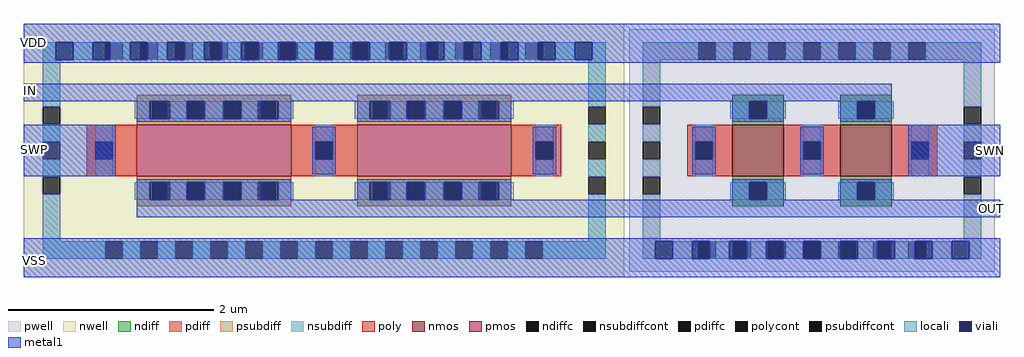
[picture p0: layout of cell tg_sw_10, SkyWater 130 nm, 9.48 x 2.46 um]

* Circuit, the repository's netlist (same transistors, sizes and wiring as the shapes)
** sch_path: /home/mthudaa/vlsi/8bit_SAR-ADC_ITS/xschem/tg_sw_10.sch
.subckt tg_sw_10 vdd swp swn vss in out
*.PININFO vdd:I swp:I swn:I vss:I in:B out:B
XM1 in swp out vdd sky130_fd_pr__pfet_01v8 L=0.5 W=1.5 nf=1 m=2
XM2 in swn out vss sky130_fd_pr__nfet_01v8 L=0.5 W=0.5 nf=1 m=2
.ends
.end

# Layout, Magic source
magic
tech sky130A
magscale 1 2
<< locali >>
rect -17 369 9 403
rect 43 369 81 403
rect 115 369 153 403
rect 187 369 225 403
rect 259 369 297 403
rect 331 369 369 403
rect 403 369 441 403
rect 475 369 513 403
rect 547 369 585 403
rect 619 369 657 403
rect 691 369 729 403
rect 763 369 801 403
rect 835 369 873 403
rect 907 369 945 403
rect 979 369 1017 403
rect 1051 369 1077 403
rect 1149 -17 1173 17
rect 1207 -17 1245 17
rect 1279 -17 1317 17
rect 1351 -17 1389 17
rect 1423 -17 1461 17
rect 1495 -17 1533 17
rect 1567 -17 1605 17
rect 1639 -17 1677 17
rect 1711 -17 1749 17
rect 1783 -17 1807 17
<< viali >>
rect 9 369 43 403
rect 81 369 115 403
rect 153 369 187 403
rect 225 369 259 403
rect 297 369 331 403
rect 369 369 403 403
rect 441 369 475 403
rect 513 369 547 403
rect 585 369 619 403
rect 657 369 691 403
rect 729 369 763 403
rect 801 369 835 403
rect 873 369 907 403
rect 945 369 979 403
rect 1017 369 1051 403
rect 1173 -17 1207 17
rect 1245 -17 1279 17
rect 1317 -17 1351 17
rect 1389 -17 1423 17
rect 1461 -17 1495 17
rect 1533 -17 1567 17
rect 1605 -17 1639 17
rect 1677 -17 1711 17
rect 1749 -17 1783 17
<< metal1 >>
rect -53 403 1843 439
rect -53 369 9 403
rect 43 369 81 403
rect 115 369 153 403
rect 187 369 225 403
rect 259 369 297 403
rect 331 369 369 403
rect 403 369 441 403
rect 475 369 513 403
rect 547 369 585 403
rect 619 369 657 403
rect 691 369 729 403
rect 763 369 801 403
rect 835 369 873 403
rect 907 369 945 403
rect 979 369 1017 403
rect 1051 369 1843 403
rect -53 363 1843 369
rect -53 289 1633 323
rect -53 143 125 243
rect 1665 143 1843 243
rect 166 63 1843 97
rect -53 17 1843 23
rect -53 -17 1173 17
rect 1207 -17 1245 17
rect 1279 -17 1317 17
rect 1351 -17 1389 17
rect 1423 -17 1461 17
rect 1495 -17 1533 17
rect 1567 -17 1605 17
rect 1639 -17 1677 17
rect 1711 -17 1749 17
rect 1783 -17 1843 17
rect -53 -53 1843 -17
use sky130_fd_pr__pfet_01v8_SEQPU3  XM1
transform 0 1 530 -1 0 193
box -246 -583 246 583
use sky130_fd_pr__nfet_01v8_6AUVNX  XM2
transform 0 1 1478 -1 0 193
box -236 -355 236 355
<< labels >>
flabel metal1 s -41 397 -30 409 0 FreeSans 500 0 0 0 VDD
port 1 nsew
flabel metal1 s -38 -26 -27 -14 0 FreeSans 500 0 0 0 VSS
port 2 nsew
flabel metal1 s -46 303 -35 315 0 FreeSans 500 0 0 0 IN
port 3 nsew
flabel metal1 s -38 188 -27 200 0 FreeSans 500 0 0 0 SWP
port 4 nsew
flabel metal1 s 1819 187 1830 199 0 FreeSans 500 0 0 0 SWN
port 5 nsew
flabel metal1 s 1821 74 1832 86 0 FreeSans 500 0 0 0 OUT
port 6 nsew
<< end >>

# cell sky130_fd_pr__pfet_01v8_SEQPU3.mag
magic
tech sky130A
magscale 1 2
<< nwell >>
rect -246 -583 246 583
<< pmos >>
rect -50 64 50 364
rect -50 -364 50 -64
<< pdiff >>
rect -108 333 -50 364
rect -108 299 -96 333
rect -62 299 -50 333
rect -108 265 -50 299
rect -108 231 -96 265
rect -62 231 -50 265
rect -108 197 -50 231
rect -108 163 -96 197
rect -62 163 -50 197
rect -108 129 -50 163
rect -108 95 -96 129
rect -62 95 -50 129
rect -108 64 -50 95
rect 50 333 108 364
rect 50 299 62 333
rect 96 299 108 333
rect 50 265 108 299
rect 50 231 62 265
rect 96 231 108 265
rect 50 197 108 231
rect 50 163 62 197
rect 96 163 108 197
rect 50 129 108 163
rect 50 95 62 129
rect 96 95 108 129
rect 50 64 108 95
rect -108 -95 -50 -64
rect -108 -129 -96 -95
rect -62 -129 -50 -95
rect -108 -163 -50 -129
rect -108 -197 -96 -163
rect -62 -197 -50 -163
rect -108 -231 -50 -197
rect -108 -265 -96 -231
rect -62 -265 -50 -231
rect -108 -299 -50 -265
rect -108 -333 -96 -299
rect -62 -333 -50 -299
rect -108 -364 -50 -333
rect 50 -95 108 -64
rect 50 -129 62 -95
rect 96 -129 108 -95
rect 50 -163 108 -129
rect 50 -197 62 -163
rect 96 -197 108 -163
rect 50 -231 108 -197
rect 50 -265 62 -231
rect 96 -265 108 -231
rect 50 -299 108 -265
rect 50 -333 62 -299
rect 96 -333 108 -299
rect 50 -364 108 -333
<< pdiffc >>
rect -96 299 -62 333
rect -96 231 -62 265
rect -96 163 -62 197
rect -96 95 -62 129
rect 62 299 96 333
rect 62 231 96 265
rect 62 163 96 197
rect 62 95 96 129
rect -96 -129 -62 -95
rect -96 -197 -62 -163
rect -96 -265 -62 -231
rect -96 -333 -62 -299
rect 62 -129 96 -95
rect 62 -197 96 -163
rect 62 -265 96 -231
rect 62 -333 96 -299
<< nsubdiff >>
rect -210 513 -85 547
rect -51 513 -17 547
rect 17 513 51 547
rect 85 513 210 547
rect -210 425 -176 513
rect -210 357 -176 391
rect 176 425 210 513
rect -210 289 -176 323
rect -210 221 -176 255
rect -210 153 -176 187
rect -210 85 -176 119
rect 176 357 210 391
rect 176 289 210 323
rect 176 221 210 255
rect 176 153 210 187
rect 176 85 210 119
rect -210 17 -176 51
rect -210 -51 -176 -17
rect 176 17 210 51
rect 176 -51 210 -17
rect -210 -119 -176 -85
rect -210 -187 -176 -153
rect -210 -255 -176 -221
rect -210 -323 -176 -289
rect -210 -391 -176 -357
rect 176 -119 210 -85
rect 176 -187 210 -153
rect 176 -255 210 -221
rect 176 -323 210 -289
rect -210 -513 -176 -425
rect 176 -391 210 -357
rect 176 -513 210 -425
rect -210 -547 -85 -513
rect -51 -547 -17 -513
rect 17 -547 51 -513
rect 85 -547 210 -513
<< nsubdiffcont >>
rect -85 513 -51 547
rect -17 513 17 547
rect 51 513 85 547
rect -210 391 -176 425
rect 176 391 210 425
rect -210 323 -176 357
rect -210 255 -176 289
rect -210 187 -176 221
rect -210 119 -176 153
rect -210 51 -176 85
rect 176 323 210 357
rect 176 255 210 289
rect 176 187 210 221
rect 176 119 210 153
rect -210 -17 -176 17
rect -210 -85 -176 -51
rect 176 51 210 85
rect 176 -17 210 17
rect -210 -153 -176 -119
rect -210 -221 -176 -187
rect -210 -289 -176 -255
rect -210 -357 -176 -323
rect 176 -85 210 -51
rect 176 -153 210 -119
rect 176 -221 210 -187
rect 176 -289 210 -255
rect 176 -357 210 -323
rect -210 -425 -176 -391
rect 176 -425 210 -391
rect -85 -547 -51 -513
rect -17 -547 17 -513
rect 51 -547 85 -513
<< poly >>
rect -50 445 50 461
rect -50 411 -17 445
rect 17 411 50 445
rect -50 364 50 411
rect -50 17 50 64
rect -50 -17 -17 17
rect 17 -17 50 17
rect -50 -64 50 -17
rect -50 -411 50 -364
rect -50 -445 -17 -411
rect 17 -445 50 -411
rect -50 -461 50 -445
<< polycont >>
rect -17 411 17 445
rect -17 -17 17 17
rect -17 -445 17 -411
<< locali >>
rect -210 513 -85 547
rect -51 513 -17 547
rect 17 513 51 547
rect 85 513 210 547
rect -210 425 -176 513
rect -50 411 -17 445
rect 17 411 50 445
rect 176 425 210 513
rect -210 357 -176 391
rect -210 289 -176 323
rect -210 221 -176 255
rect -210 153 -176 187
rect -210 85 -176 119
rect -96 339 -62 368
rect -96 267 -62 299
rect -96 197 -62 231
rect -96 129 -62 161
rect -96 60 -62 89
rect 62 339 96 368
rect 62 267 96 299
rect 62 197 96 231
rect 62 129 96 161
rect 62 60 96 89
rect 176 357 210 391
rect 176 289 210 323
rect 176 221 210 255
rect 176 153 210 187
rect 176 85 210 119
rect -210 17 -176 51
rect 176 17 210 51
rect -50 -17 -17 17
rect 17 -17 50 17
rect -210 -51 -176 -17
rect 176 -51 210 -17
rect -210 -119 -176 -85
rect -210 -187 -176 -153
rect -210 -255 -176 -221
rect -210 -323 -176 -289
rect -210 -391 -176 -357
rect -96 -89 -62 -60
rect -96 -161 -62 -129
rect -96 -231 -62 -197
rect -96 -299 -62 -267
rect -96 -368 -62 -339
rect 62 -89 96 -60
rect 62 -161 96 -129
rect 62 -231 96 -197
rect 62 -299 96 -267
rect 62 -368 96 -339
rect 176 -119 210 -85
rect 176 -187 210 -153
rect 176 -255 210 -221
rect 176 -323 210 -289
rect 176 -391 210 -357
rect -210 -513 -176 -425
rect -50 -445 -17 -411
rect 17 -445 50 -411
rect 176 -513 210 -425
rect -210 -547 -85 -513
rect -51 -547 -17 -513
rect 17 -547 51 -513
rect 85 -547 210 -513
<< viali >>
rect -17 411 17 445
rect -96 333 -62 339
rect -96 305 -62 333
rect -96 265 -62 267
rect -96 233 -62 265
rect -96 163 -62 195
rect -96 161 -62 163
rect -96 95 -62 123
rect -96 89 -62 95
rect 62 333 96 339
rect 62 305 96 333
rect 62 265 96 267
rect 62 233 96 265
rect 62 163 96 195
rect 62 161 96 163
rect 62 95 96 123
rect 62 89 96 95
rect -17 -17 17 17
rect -96 -95 -62 -89
rect -96 -123 -62 -95
rect -96 -163 -62 -161
rect -96 -195 -62 -163
rect -96 -265 -62 -233
rect -96 -267 -62 -265
rect -96 -333 -62 -305
rect -96 -339 -62 -333
rect 62 -95 96 -89
rect 62 -123 96 -95
rect 62 -163 96 -161
rect 62 -195 96 -163
rect 62 -265 96 -233
rect 62 -267 96 -265
rect 62 -333 96 -305
rect 62 -339 96 -333
rect -17 -445 17 -411
<< metal1 >>
rect -46 445 46 451
rect -46 411 -17 445
rect 17 411 46 445
rect -46 405 46 411
rect -102 339 -56 364
rect -102 305 -96 339
rect -62 305 -56 339
rect -102 267 -56 305
rect -102 233 -96 267
rect -62 233 -56 267
rect -102 195 -56 233
rect -102 161 -96 195
rect -62 161 -56 195
rect -102 123 -56 161
rect -102 89 -96 123
rect -62 89 -56 123
rect -102 64 -56 89
rect 56 339 102 364
rect 56 305 62 339
rect 96 305 102 339
rect 56 267 102 305
rect 56 233 62 267
rect 96 233 102 267
rect 56 195 102 233
rect 56 161 62 195
rect 96 161 102 195
rect 56 123 102 161
rect 56 89 62 123
rect 96 89 102 123
rect 56 64 102 89
rect -46 17 46 23
rect -46 -17 -17 17
rect 17 -17 46 17
rect -46 -23 46 -17
rect -102 -89 -56 -64
rect -102 -123 -96 -89
rect -62 -123 -56 -89
rect -102 -161 -56 -123
rect -102 -195 -96 -161
rect -62 -195 -56 -161
rect -102 -233 -56 -195
rect -102 -267 -96 -233
rect -62 -267 -56 -233
rect -102 -305 -56 -267
rect -102 -339 -96 -305
rect -62 -339 -56 -305
rect -102 -364 -56 -339
rect 56 -89 102 -64
rect 56 -123 62 -89
rect 96 -123 102 -89
rect 56 -161 102 -123
rect 56 -195 62 -161
rect 96 -195 102 -161
rect 56 -233 102 -195
rect 56 -267 62 -233
rect 96 -267 102 -233
rect 56 -305 102 -267
rect 56 -339 62 -305
rect 96 -339 102 -305
rect 56 -364 102 -339
rect -46 -411 46 -405
rect -46 -445 -17 -411
rect 17 -445 46 -411
rect -46 -451 46 -445
<< properties >>
string FIXED_BBOX -193 -530 193 530
<< end >>

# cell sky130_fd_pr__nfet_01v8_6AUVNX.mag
magic
tech sky130A
magscale 1 2
<< pwell >>
rect -236 -355 236 355
<< nmos >>
rect -50 55 50 155
rect -50 -155 50 -55
<< ndiff >>
rect -108 122 -50 155
rect -108 88 -96 122
rect -62 88 -50 122
rect -108 55 -50 88
rect 50 122 108 155
rect 50 88 62 122
rect 96 88 108 122
rect 50 55 108 88
rect -108 -88 -50 -55
rect -108 -122 -96 -88
rect -62 -122 -50 -88
rect -108 -155 -50 -122
rect 50 -88 108 -55
rect 50 -122 62 -88
rect 96 -122 108 -88
rect 50 -155 108 -122
<< ndiffc >>
rect -96 88 -62 122
rect 62 88 96 122
rect -96 -122 -62 -88
rect 62 -122 96 -88
<< psubdiff >>
rect -210 295 -85 329
rect -51 295 -17 329
rect 17 295 51 329
rect 85 295 210 329
rect -210 221 -176 295
rect -210 153 -176 187
rect 176 221 210 295
rect -210 85 -176 119
rect 176 153 210 187
rect 176 85 210 119
rect -210 17 -176 51
rect -210 -51 -176 -17
rect 176 17 210 51
rect 176 -51 210 -17
rect -210 -119 -176 -85
rect -210 -187 -176 -153
rect 176 -119 210 -85
rect -210 -295 -176 -221
rect 176 -187 210 -153
rect 176 -295 210 -221
rect -210 -329 -85 -295
rect -51 -329 -17 -295
rect 17 -329 51 -295
rect 85 -329 210 -295
<< psubdiffcont >>
rect -85 295 -51 329
rect -17 295 17 329
rect 51 295 85 329
rect -210 187 -176 221
rect 176 187 210 221
rect -210 119 -176 153
rect -210 51 -176 85
rect 176 119 210 153
rect -210 -17 -176 17
rect -210 -85 -176 -51
rect 176 51 210 85
rect 176 -17 210 17
rect -210 -153 -176 -119
rect 176 -85 210 -51
rect 176 -153 210 -119
rect -210 -221 -176 -187
rect 176 -221 210 -187
rect -85 -329 -51 -295
rect -17 -329 17 -295
rect 51 -329 85 -295
<< poly >>
rect -50 227 50 243
rect -50 193 -17 227
rect 17 193 50 227
rect -50 155 50 193
rect -50 17 50 55
rect -50 -17 -17 17
rect 17 -17 50 17
rect -50 -55 50 -17
rect -50 -193 50 -155
rect -50 -227 -17 -193
rect 17 -227 50 -193
rect -50 -243 50 -227
<< polycont >>
rect -17 193 17 227
rect -17 -17 17 17
rect -17 -227 17 -193
<< locali >>
rect -210 295 -85 329
rect -51 295 -17 329
rect 17 295 51 329
rect 85 295 210 329
rect -210 221 -176 295
rect -50 193 -17 227
rect 17 193 50 227
rect 176 221 210 295
rect -210 153 -176 187
rect -210 85 -176 119
rect -96 122 -62 159
rect -96 51 -62 88
rect 62 122 96 159
rect 62 51 96 88
rect 176 153 210 187
rect 176 85 210 119
rect -210 17 -176 51
rect 176 17 210 51
rect -50 -17 -17 17
rect 17 -17 50 17
rect -210 -51 -176 -17
rect 176 -51 210 -17
rect -210 -119 -176 -85
rect -210 -187 -176 -153
rect -96 -88 -62 -51
rect -96 -159 -62 -122
rect 62 -88 96 -51
rect 62 -159 96 -122
rect 176 -119 210 -85
rect 176 -187 210 -153
rect -210 -295 -176 -221
rect -50 -227 -17 -193
rect 17 -227 50 -193
rect 176 -295 210 -221
rect -210 -329 -85 -295
rect -51 -329 -17 -295
rect 17 -329 51 -295
rect 85 -329 210 -295
<< viali >>
rect -17 193 17 227
rect -96 88 -62 122
rect 62 88 96 122
rect -17 -17 17 17
rect -96 -122 -62 -88
rect 62 -122 96 -88
rect -17 -227 17 -193
<< metal1 >>
rect -46 227 46 233
rect -46 193 -17 227
rect 17 193 46 227
rect -46 187 46 193
rect -102 122 -56 155
rect -102 88 -96 122
rect -62 88 -56 122
rect -102 55 -56 88
rect 56 122 102 155
rect 56 88 62 122
rect 96 88 102 122
rect 56 55 102 88
rect -46 17 46 23
rect -46 -17 -17 17
rect 17 -17 46 17
rect -46 -23 46 -17
rect -102 -88 -56 -55
rect -102 -122 -96 -88
rect -62 -122 -56 -88
rect -102 -155 -56 -122
rect 56 -88 102 -55
rect 56 -122 62 -88
rect 96 -122 102 -88
rect 56 -155 102 -122
rect -46 -193 46 -187
rect -46 -227 -17 -193
rect 17 -227 46 -193
rect -46 -233 46 -227
<< properties >>
string FIXED_BBOX -193 -312 193 312
<< end >>
